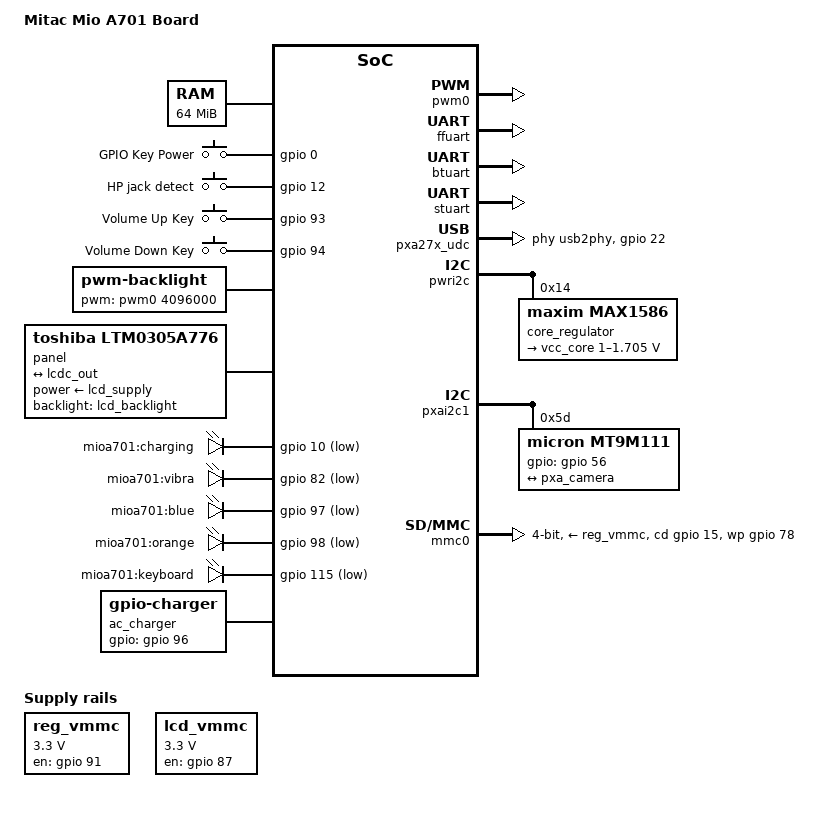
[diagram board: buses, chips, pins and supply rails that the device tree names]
// SPDX-License-Identifier: GPL-2.0
/*
 *  Copyright (C) 2018 Robert Jarzmik <robert.jarzmik@free.fr>
 *
 *  This program is free software; you can redistribute it and/or modify
 *  it under the terms of the GNU General Public License version 2 as
 *  publishhed by the Free Software Foundation.
 */

/dts-v1/;
#include "pxa27x.dtsi"
#include <dt-bindings/gpio/gpio.h>
#include <dt-bindings/clock/pxa-clock.h>

/ {
	model = "Mitac Mio A701 Board";
	/* compatible = "mitac,mioa701"; */
	compatible = "marvell,pxa270";

	chosen {
		bootargs = "mtdparts=docg3.0:256k@3456k(barebox)ro,256k(barebox-logo),128k(barebox-env),4M(kernel),-(root) ubi.mtd=4 rootfstype=ubifs root=ubi0:linux_root ro";
	};

	memory {
		reg = <0xa0000000 0x04000000>;

		reserved-memory {
			#address-cells = <1>;
			#size-cells = <1>;

			pstore_region:region@0xa2000000 {
				compatible = "linux,contiguous-memory-region";
				reg = <0xa2000000 1048576>;
			};
		};
	};

	cpus {
		cpu {
			cpu-supply = <&vcc_core>;
		};
	};

	pxabus {
		pinctrl: pinctrl@40e00000 {
			status = "okay";
			pinctrl_ac97_default: ac97-default {
				PMMUX(hpjack-detect, 12, gpio_in);
				PMMUX(ac97-bitclk, 28, AC97_BITCLK);
				PMMUX(ac97-sdata-in-0, 29, AC97_SDATA_IN_0);
				PMMUX(ac97-sdata-out, 30, AC97_SDATA_OUT);
				PMMUX(ac97-sync, 31, AC97_SYNC);
				PMMUX(ac97-sysclk, 89, AC97_SYSCLK);
			};
			pinctrl_btuart_default: btuart-default {
				PMMUX(btuart-nactivity, 14, gpio_in);
				PMMUX(btuart-rxd, 42, BTRXD);
				PMMUX(btuart-txd, 43, BTTXD);
				PMMUX(btuart-cts, 44, BTCTS);
				PMMUX(btuart-rts, 45, BTRTS);
				PMMUX_LPM_LOW(bt-on, 83, gpio_out);
				PMMUX_LPM_HIGH(bt-unknown, 77, gpio_out);
				PMMUX_LPM_HIGH(bt-nreset, 86, gpio_out);
			};
			pinctrl_ffuart_default: ffuart-default {
				PMMUX(ffuart-rxd, 34, FFRXD);
				PMMUX(ffuart-cts, 35, FFCTS);
				PMMUX(ffuart-dcd, 36, FFDCD);
				PMMUX(ffuart-dsr, 37, FFDSR);
				PMMUX(ffuart-txd, 39, FFTXD);
				PMMUX(ffuart-dtr, 40, FFDTR);
				PMMUX(ffuart-rts, 41, FFRTS);
				PMMUX_LPM_LOW(gsm-reset, 24, gpio_out);
				PMMUX(gsm-is-on, 25, gpio_in);
				PMMUX_LPM_HIGH(gsm-nset-on, 88, gpio_out);
				PMMUX_LPM_HIGH(gsm-nset-off, 90, gpio_out);
				PMMUX(gsm-event-available, 113, gpio_in);
				PMMUX_LPM_HIGH(gsm-dte-state, 114, gpio_out);
			};
			pinctrl_gpiokeys_default: gpiokeys-default {
				PMMUX(key-power, 0, gpio_in);
				PMMUX(key-volume_up, 93, gpio_in);
				PMMUX(key-volume_down, 94, gpio_in);
			};
			pinctrl_keypad_default: keypad-default {
				PMMUX(keypad-mkin0, 100, KP_MKIN<0>);
				PMMUX(keypad-mkin1, 101, KP_MKIN<1>);
				PMMUX(keypad-mkin2, 102, KP_MKIN<2>);
				PMMUX(keypad-mkout0, 103, KP_MKOUT<0>);
				PMMUX(keypad-mkout1, 104, KP_MKOUT<1>);
				PMMUX(keypad-mkout2, 105, KP_MKOUT<2>);
			};
			pinctrl_i2c_default: i2c-default {
				PMMUX(i2c-scl, 117, SCL);
				PMMUX(i2c-sda, 118, SDA);
			};
			pinctrl_lcd_default: lcd-default {
				PMMUX(ldd0, 58, LDD<0>);
				PMMUX(ldd1, 59, LDD<1>);
				PMMUX(ldd2, 60, LDD<2>);
				PMMUX(ldd3, 61, LDD<3>);
				PMMUX(ldd4, 62, LDD<4>);
				PMMUX(ldd5, 63, LDD<5>);
				PMMUX(ldd6, 64, LDD<6>);
				PMMUX(ldd7, 65, LDD<7>);
				PMMUX(ldd8, 66, LDD<8>);
				PMMUX(ldd9, 67, LDD<9>);
				PMMUX(ldd10, 68, LDD<10>);
				PMMUX(ldd11, 69, LDD<11>);
				PMMUX(ldd12, 70, LDD<12>);
				PMMUX(ldd13, 71, LDD<13>);
				PMMUX(ldd14, 72, LDD<14>);
				PMMUX(ldd16, 73, LDD<15>);
				PMMUX(lcd-fclk, 74, L_FCLK_RD);
				PMMUX(lcd-lclk, 75, L_LCLK_A0);
				PMMUX(lcd-pclk, 76, L_PCLK_WR);
				PMMUX(lcd-power, 87, gpio_out);
			};
			pinctrl_leds_default: leds-default {
				PMMUX_LPM_HIGH(led-charging, 10, gpio_out);
				PMMUX_LPM_HIGH(led-vibra, 82, gpio_out);
				PMMUX_LPM_HIGH(led-blue, 97, gpio_out);
				PMMUX_LPM_HIGH(led-orange, 98, gpio_out);
				PMMUX_LPM_HIGH(led-keyboard, 115, gpio_out);
			};
			pinctrl_pwm0_default: pwm0-defaut {
				PMMUX(pwm0, 16, PWM_OUT<0>);
			};
			pinctrl_qci_default: qci-defaut {
				PMMUX(cif-dd6, 17, CIF_DD<6>);
				PMMUX(cif-dd3, 50, CIF_DD<3>);
				PMMUX(cif-dd2, 51, CIF_DD<2>);
				PMMUX(cif-dd4, 52, CIF_DD<4>);
				PMMUX(cif-mclk, 53, CIF_MCLK);
				PMMUX(cif-pclk, 54, CIF_PCLK);
				PMMUX_LPM_HIGH(mt9m111-nOE, 56, gpio_out);
				PMMUX(cif-dd1, 55, CIF_DD<1>);
				PMMUX(cif-dd0, 81, CIF_DD<0>);
				PMMUX(cif-dd5, 48, CIF_DD<5>);
				PMMUX(cif-fv, 84, CIF_FV);
				PMMUX(cif-lv, 85, CIF_LV);
				PMMUX(cif-dd7, 108, CIF_DD<7>);
			};
			pinctrl_mmc_default: mmc-default {
				PMMUX(sd-insert, 15, gpio_in);
				PMMUX(mmclk, 32, MMCLK);
				PMMUX(sd-ro, 78, gpio_in);
				PMMUX_LPM_LOW(sd-enable, 91, gpio_out);
				PMMUX(mmdat0, 92, MMDAT<0>);
				PMMUX(mmdat1, 109, MMDAT<1>);
				PMMUX(mmdat2, 110, MMDAT<2>);
				PMMUX(mmdat3, 111, MMDAT<3>);
				PMMUX(mmcmd, 112, MMCMD);
			};
			pinctrl_stuart_default: stuart-default {
				PMMUX_LPM_LOW(gps-unknown1, 23, gpio_out);
				PMMUX_LPM_LOW(gps-on, 26, gpio_out);
				PMMUX_LPM_LOW(gps-nreset, 27, gpio_out);
				PMMUX(stuart-rxd, 46, STRXD);
				PMMUX(stuart-txd, 47, STTXD);
				PMMUX_LPM_LOW(gps-unknown2, 106, gpio_out);
				PMMUX_LPM_LOW(gps-unknown3, 107, gpio_out);
			};
			pinctrl_usb_default: usb-default {
				PMMUX(n-usb-detect, 13, gpio_in);
				PMMUX_LPM_LOW(n-dplus-pullup, 22, gpio_out);
			};
			pinctrl_power_default: power-default {
				PMMUX_LPM_LOW(charge-enable, 9, gpio_out);
				PMMUX(charge-vdrop, 80, gpio_out);
				PMMUX(ac-detect, 96, gpio_in);
			};
		};

		pwm0: pwm@40b00000 {
		      status = "okay";
		};

		gpio: gpio@40e00000 {
			status = "okay";
		};

		ffuart: uart@40100000 {
			pinctrl-names = "default";
			pinctrl-0 = <&pinctrl_ffuart_default>;
			status = "okay";
		};

		btuart: uart@40200000 {
			pinctrl-names = "default";
			pinctrl-0 = <&pinctrl_btuart_default>;
			status = "okay";
		};

		stuart: uart@40700000 {
			status = "okay";
		};

		usb2phy: gpio-vbus@13 {
			compatible = "usb-nop-xceiv";
			#phy-cells = <1>;
			vbus-detect-gpio = <&gpio 13 GPIO_ACTIVE_LOW>;
			wakeup;
		};

		pxa27x_udc: udc@40600000 {
			status = "okay";
			gpios = <&gpio 22 0>;
			phys = <&usb2phy>;
			phys-names = "usb2phy";
			pinctrl-names = "default";
			pinctrl-0 = <&pinctrl_usb_default>;
		};

		pwri2c: i2c@40f000180 {
			status = "okay";

			core_regulator@14 {
				compatible = "maxim,max1586";
				reg = <0x14>;
				v3-gain = <1000000>;

				regulators {
					vcc_core: v3 {
						regulator-name = "vcc_core";
						regulator-compatible = "Output_V3";
						regulator-min-microvolt = <1000000>;
						regulator-max-microvolt = <1705000>;
						regulator-always-on;
					};
				};
			};
		};

		pxai2c1: i2c@40301680 {
			mrvl,i2c-fast-mode;
			pinctrl-names = "default";
			pinctrl-0 = <&pinctrl_i2c_default>;
			status = "okay";

			mt9m111: camera@5d {
				compatible = "micron,mt9m111";
				reg = <0x5d>;
				gpios = <&gpio 56 GPIO_ACTIVE_HIGH>;

				remote = <&pxa_camera>;
				port {
					mt9m111_1: endpoint {
						bus-width = <8>;
						remote-endpoint = <&pxa_camera>;
					};
				};
			};
		};

		keypad: keypad@41500000 {
			status = "okay";

			keypad,num-rows = <3>;
			keypad,num-columns = <3>;
			linux,keymap = <
				0x00000067	/* KEY_UP */
				0x0001006a	/* KEY_RIGHT */
				0x000200e2	/* KEY_MEDIA */
				0x0100006c	/* KEY_DOWN */
				0x0101001c	/* KEY_ENTER */
				0x010200da	/* KEY_CONNECT */
				0x02000069	/* KEY_LEFT */
				0x020100a9	/* KEY_PHONE */
				0x020200d4>;	/* KEY_CAMERA */
			marvell,debounce-interval = <0>;

			pinctrl-names = "default";
			pinctrl-0 = <&pinctrl_keypad_default>;
		};

		gpio-keys {
			compatible = "gpio-keys";
			#address-cells = <1>;
			#size-cells = <0>;
			autorepeat;
			pinctrl-names = "default";
			pinctrl-0 = <&pinctrl_gpiokeys_default>;
			status = "okay";

			button@0 {
				label = "GPIO Key Power";
				linux,code = <174>;
				gpios = <&gpio 0 0>;
				gpio-key,wakeup;
			};
			button@12 {
				label = "HP jack detect";
				linux,code = <211>;
				gpios = <&gpio 12 0>;
			};
			button@93 {
				label = "Volume Up Key";
				linux,code = <115>;
				gpios = <&gpio 93 0>;
			};
			button@94 {
				label = "Volume Down Key";
				linux,code = <114>;
				gpios = <&gpio 94 0>;
			};
		};

		mmc0: mmc@41100000 {
			vmmc-supply = <&reg_vmmc>;
			pinctrl-names = "default";
			pinctrl-0 = <&pinctrl_mmc_default>;
			bus-width = <4>;
			cd-gpios = <&gpio 15 0>;
			wp-gpios = <&gpio 78 0>;
			status = "okay";
		};

		pxa_camera: imaging@50000000 {
			status = "okay";
			pinctrl-names = "default";
			pinctrl-0 = <&pinctrl_qci_default>;

			port {
				#address-cells = <1>;
				#size-cells = <0>;

				/* Parallel bus endpoint */
				qci: endpoint@0 {
					reg = <0>;
					remote-endpoint = <&mt9m111_1>;
					bus-width = <8>;

					hsync-active = <0>;
					vsync-active = <0>;
					pclk-sample = <1>;
				};
			};
		};

		rtc@40900000 {
			status = "okay";
		};

		lcd-controller@40500000 {
			pinctrl-names = "default";
			pinctrl-0 = <&pinctrl_lcd_default>;
			status = "okay";
			port {
				lcdc_out: endpoint {
					remote-endpoint = <&panel_in>;
					bus-width = <16>;
				};
			};
		};

		ac97: sound@40500000 {
			compatible = "marvell,pxa270-ac97";
			reg = < 0x40500000 0x1000 >;
			interrupts = <14>;
			reset-gpios = <&gpio 95 GPIO_ACTIVE_HIGH>;
			pinctrl-names = "default";
			pinctrl-0 = < &pinctrl_ac97_default >;
			clocks = <&clks CLK_AC97>, <&clks CLK_AC97CONF>;
			clock-names = "AC97CLK", "AC97CONFCLK";
			dmas = <&pdma 8 0
				&pdma 9 0
				&pdma 10 0
				&pdma 11 0
				&pdma 12 0>;
			dma-names = "pcm_pcm_mic_mono", "pcm_pcm_aux_mono_in",
				    "pcm_pcm_aux_mono_out", "pcm_pcm_stereo_in",
				    "pcm_pcm_stereo_out";

			#sound-dai-cells = <0>;

			#address-cells = <1>;
			#size-cells = <0>;
			wm9713: audio-codec@0 {
				reg = <0>;
				compatible = "ac97,574d,4c13";
				clocks = <&wm9713_bitclk>;
				clock-names = "ac97_clk";
				#sound-dai-cells = <0>;

				wm9713_bitclk: ac97_bitclk {
					compatible = "fixed-clock";
					#clock-cells = <0>;
					clock-frequency = <12285000>;
					status = "okay";
				};
			};
		};

		pxa_pcm_audio: snd_soc_pxa_audio {
			compatible = "mrvl,pxa-pcm-audio";
			#sound-dai-cells = <0>;
			status = "okay";
		};

		lcd-controller@40500000 {
			lcd-supply = <&lcd_vmmc>;
		};
	};

	regulators {
		compatible = "simple-bus";
		#address-cells = <1>;
		#size-cells = <0>;

		reg_vmmc: regulator@0 {
			compatible = "regulator-fixed";
			regulator-name = "vmmc";
			regulator-min-microvolt = <3300000>;
			regulator-max-microvolt = <3300000>;

			gpio = <&gpio 91 GPIO_ACTIVE_HIGH>;
			enable-active-high;
		};

		lcd_vmmc: regulator@1 {
			compatible = "regulator-fixed";
			regulator-name = "lcd-supply";
			regulator-min-microvolt = <3300000>;
			regulator-max-microvolt = <3300000>;
			regulator-boot-on;

			gpio = <&gpio 87 GPIO_ACTIVE_HIGH>;
			enable-active-high;
		};
	};

	backlight {
		compatible = "pwm-backlight";
		pwms = <&pwm0 4096000>;
		pwm-names = "backlight";

		brightness-levels = <0 4 8 16 32 64 128 255>;
		default-brightness-level = <2>;

		pinctrl-names = "default";
		pinctrl-0 = <&pinctrl_pwm0_default>;
	};

	docg3: flash@0 {
		compatible = "m-systems,diskonchip-g3";
		reg = <0x0 0x2000>;
	};

	panel {
		compatible = "toshiba,ltm0305a776";
		lcd-type = "color-tft";

		power-supply = <&lcd_supply>;
		backlight = <&lcd_backlight>;

		port {
			panel_in: endpoint {
				remote-endpoint = <&lcdc_out>;
			};
		};

		display-timings {
			native-mode = <&timing0>;
			timing0: 240p {
				/* 240x320p24 */
				clock-frequency = <4545000>;
				hactive = <240>;
				vactive = <320>;
				hfront-porch = <4>;
				hback-porch = <6>;
				hsync-len = <4>;
				vback-porch = <5>;
				vfront-porch = <3>;
				vsync-len = <2>;
			};
		};
	};

	leds {
		compatible = "gpio-leds";

		pinctrl-names = "default";
		pinctrl-0 = <&pinctrl_leds_default>;

		charger-led {
			label = "mioa701:charging";
			gpios = <&gpio 10 GPIO_ACTIVE_LOW>;
			default-state = "off";
		};

		vibrator {
			label = "mioa701:vibra";
			gpios = <&gpio 82 GPIO_ACTIVE_LOW>;
			default-state = "off";
		};

		bluetooth-led {
			label = "mioa701:blue";
			gpios = <&gpio 97 GPIO_ACTIVE_LOW>;
			default-state = "off";
		};

		orange-led {
			label = "mioa701:orange";
			gpios = <&gpio 98 GPIO_ACTIVE_LOW>;
			default-state = "off";
		};

		keyboard-led {
			label = "mioa701:keyboard";
			gpios = <&gpio 115 GPIO_ACTIVE_LOW>;
			default-state = "off";
		};
	};

	sound {
		compatible = "simple-audio-card";
		simple-audio-card,name = "MioA701";
		simple-audio-card,widgets =
		"Speaker", "Front Speaker",
		"Speaker", "Rear Speaker",
		"Microphone", "Headset",
		"Microphone", "GSM Line Out",
		"Line", "GSM Line In",
		"Microphone", "Headset Mic",
		"Microphone", "Front Mic";
		simple-audio-card,routing =
		/* Call Mic */
		"Mic Bias", "Front Mic",
		"MIC1", "Mic Bias",
		/* Headset Mic */
		"LINEL", "Headset Mic",
		"LINER", "Headset Mic",
		/* GSM Module */
		"MONOIN", "GSM Line Out",
		"PCBEEP", "GSM Line Out",
		"GSM Line In", "MONO",
		/* headphone connected to HPL, HPR */
		"Headset", "HPL",
		"Headset", "HPR",
		/* front speaker connected to HPL, OUT3 */
		"Front Speaker", "HPL",
		"Front Speaker", "OUT3",
		/* rear speaker connected to SPKL, SPKR */
		"Rear Speaker", "SPKL",
		"Rear Speaker", "SPKR";

		simple-audio-card,cpu {
			sound-dai = <&ac97>;
		};
		simple-audio-card,codec {
			sound-dai = <&wm9713>;
		};
		simple-audio-card,plat {
			sound-dai = <&pxa_pcm_audio>;
		};
	};

	ac_charger: charger@1 {
		compatible = "gpio-charger";
		charger-type = "usb-aca";
		gpios = <&gpio 96 GPIO_ACTIVE_HIGH>;
	};
};
